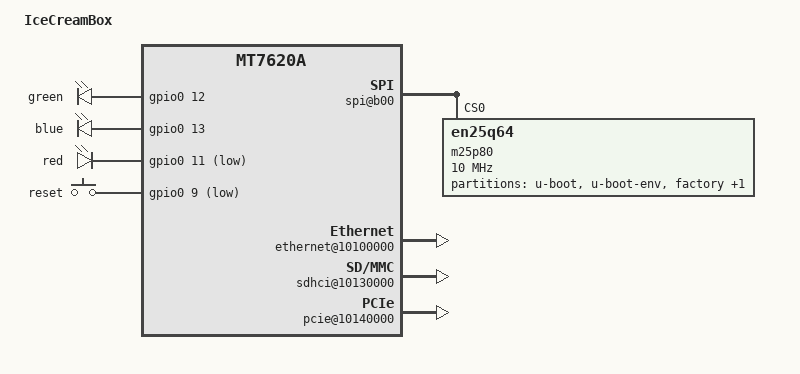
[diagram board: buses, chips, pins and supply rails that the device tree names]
/dts-v1/;

/include/ "mt7620a.dtsi"

/ {
        compatible = "ralink,mt7620a-eval-board", "ralink,mt7620a-soc";
        model = "IceCreamBox";

	chosen {
                bootargs = "console=ttyS0,115200";
        };

        palmbus@10000000 {
                spi@b00 {
                        status = "okay";

                        m25p80@0 {
                                #address-cells = <1>;
                                #size-cells = <1>;
                                compatible = "en25q64";
                                reg = <0 0>;
                                linux,modalias = "m25p80", "en25q64";
                                spi-max-frequency = <10000000>;

                                partition@0 {
                                        label = "u-boot";
                                        reg = <0x0 0x30000>;
                                        read-only;
                                };

                                partition@30000 {
                                        label = "u-boot-env";
                                        reg = <0x30000 0x10000>;
                                        read-only;
                                };

                                factory: partition@40000 {
                                        label = "factory";
                                        reg = <0x40000 0x10000>;
                                        #read-only;
                                };

                                partition@50000 {
                                        label = "firmware";
                                        reg = <0x50000 0x7b0000>;
                                };
                        };
                };
        };

        pinctrl {
                state_default: pinctrl0 {
                        gpio {
                                ralink,group = "i2c", "uartf";
                                ralink,function = "gpio";
                        };
                };
        };

        ethernet@10100000 {
                status = "okay";

                mtd-mac-address = <&factory 4>;
                pinctrl-names = "default";
                pinctrl-0 = <&ephy_pins>;

                ralink,port-map = "wllll";
        };
	
	wmac@10180000 {
                ralink,mtd-eeprom = <&factory 0>;
        };

        gsw@10110000 {
                ralink,port4 = "gmac";
        };

        sdhci@10130000 {
                status = "okay";
        };

        pcie@10140000 {
                status = "okay";
        };


        gpio-leds {
                compatible = "gpio-leds";
                green {
                        label = "green";
                        gpios = <&gpio0 12 0>;
                };
                blue {
                        label = "blue";
                        gpios = <&gpio0 13 0>;
                };
                red {
                        label = "red";
                        gpios = <&gpio0 11 1>;
                }; 
        };

        gpio-keys-polled {
                compatible = "gpio-keys";
                #address-cells = <1>;
                #size-cells = <0>;
                poll-interval = <20>;
		reset {
                        label = "reset";
                        gpios = <&gpio0 9 1>;
                        linux,code = <0x198>;
                };
        };
};
